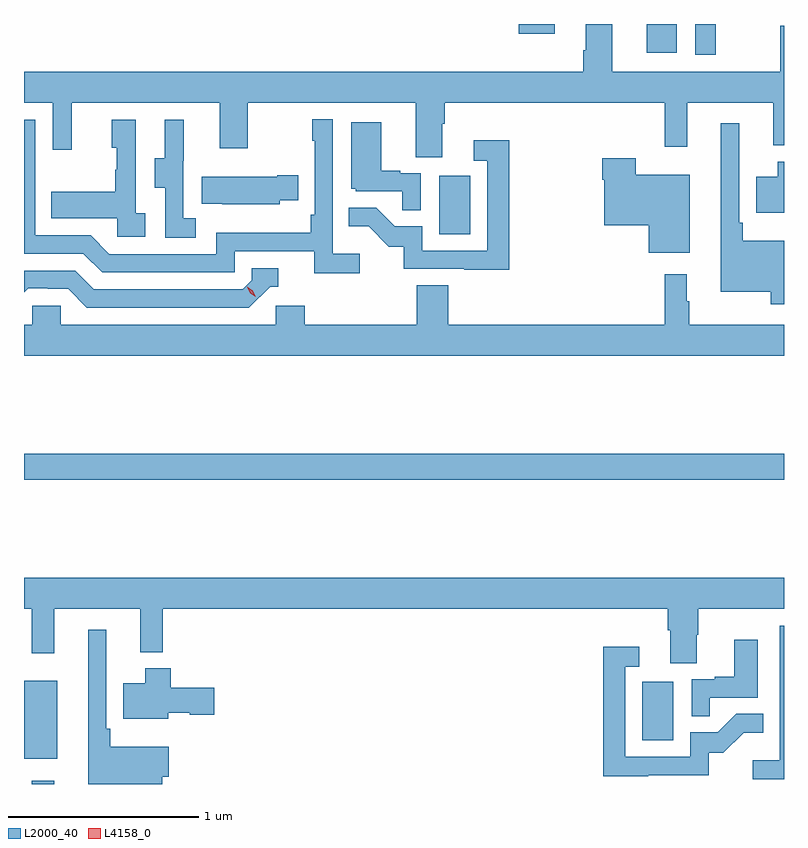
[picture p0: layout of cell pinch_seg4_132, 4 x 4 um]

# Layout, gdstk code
import gdstk
lib = gdstk.Library(unit=1e-6, precision=1e-09)
def R(c, l, rs):  # rectangles x0, y0, x1, y1
    for r in rs: c.add(gdstk.rectangle(r[:2], r[2:], *l))
def P(c, l, *ps):  # polygons
    for p in ps: c.add(gdstk.Polygon(p, *l))
L2000_40 = (2000, 40)
L4158_0 = (4158, 0)

pinch_seg4_132 = lib.new_cell('pinch_seg4_132')
R(pinch_seg4_132, L2000_40, [(1042.561,799.894,1042.678,799.912), (1042.519,800.027,1042.693,800.437), (1045.772,800.124,1045.936,800.431), (1042.519,801.496,1046.519,801.632), (1044.704,802.788,1044.868,803.095), (1046.052,803.733,1046.161,803.894), (1045.796,803.742,1045.954,803.894), (1045.123,803.844,1045.312,803.894)])
P(pinch_seg4_132, L2000_40, [(1042.519,803.48),(1042.671,803.48),(1042.671,803.232),(1042.769,803.232),(1042.769,803.48),(1043.549,803.48),(1043.549,803.241),(1043.697,803.241),(1043.697,803.48),(1044.581,803.48),(1044.581,803.194),(1044.721,803.194),(1044.721,803.368),(1044.734,803.368),(1044.734,803.48),(1045.891,803.48),(1045.891,803.247),(1046.009,803.247),(1046.009,803.48),(1046.462,803.48),(1046.462,803.255),(1046.519,803.255),(1046.519,803.884),(1046.5,803.884),(1046.5,803.644),(1045.615,803.644),(1045.615,803.894),(1045.475,803.894),(1045.475,803.756),(1045.463,803.756),(1045.463,803.644),(1042.519,803.644)],
  [(1044.286,802.684),(1044.144,802.684),(1044.144,803.392),(1044.036,803.392),(1044.036,803.279),(1044.048,803.279),(1044.048,802.891),(1044.028,802.891),(1044.028,802.795),(1043.532,802.795),(1043.532,802.683),(1042.968,802.683),(1042.869,802.782),(1042.578,802.782),(1042.578,803.391),(1042.519,803.391),(1042.519,802.686),(1042.832,802.686),(1042.931,802.587),(1043.628,802.587),(1043.628,802.698),(1044.047,802.698),(1044.047,802.582),(1044.286,802.582)],
  [(1043.422,802.871),(1043.358,802.871),(1043.358,803.175),(1043.36,803.175),(1043.36,803.389),(1043.261,803.389),(1043.261,803.187),(1043.207,803.187),(1043.207,803.032),(1043.262,803.032),(1043.262,802.768),(1043.422,802.768)],
  [(1043.158,802.898),(1043.106,802.898),(1043.106,803.389),(1042.982,803.389),(1042.982,803.244),(1043.007,803.244),(1043.007,803.126),(1042.998,803.126),(1042.998,803.011),(1042.663,803.011),(1042.663,802.871),(1043.01,802.871),(1043.01,802.773),(1043.158,802.773)],
  [(1044.606,803.109),(1044.5,803.109),(1044.5,803.122),(1044.4,803.122),(1044.4,803.377),(1044.242,803.377),(1044.242,803.028),(1044.264,803.028),(1044.264,803.013),(1044.511,803.013),(1044.511,802.915),(1044.606,802.915)],
  [(1046.519,802.753),(1046.303,802.753),(1046.303,802.849),(1046.283,802.849),(1046.283,803.371),(1046.186,803.371),(1046.186,802.484),(1046.448,802.484),(1046.448,802.419),(1046.519,802.419)],
  [(1045.073,803.281),(1044.885,803.281),(1044.885,803.175),(1044.957,803.175),(1044.957,802.701),(1044.615,802.701),(1044.615,802.83),(1044.471,802.83),(1044.373,802.928),(1044.229,802.928),(1044.229,802.829),(1044.333,802.829),(1044.44,802.722),(1044.517,802.722),(1044.517,802.605),(1044.835,802.605),(1044.835,802.6),(1045.073,802.6)],
  [(1046.023,803.101),(1045.74,803.101),(1045.74,803.188),(1045.562,803.188),(1045.562,803.075),(1045.574,803.075),(1045.574,802.835),(1045.808,802.835),(1045.808,802.691),(1046.023,802.691)],
  [(1046.519,803.17),(1046.486,803.17),(1046.486,803.089),(1046.372,803.089),(1046.372,802.901),(1046.519,802.901)],
  [(1043.865,802.967),(1043.963,802.967),(1043.963,803.097),(1043.852,803.097),(1043.852,803.089),(1043.455,803.089),(1043.455,802.949),(1043.563,802.949),(1043.563,802.946),(1043.865,802.946)],
  [(1043.814,802.512),(1043.857,802.512),(1043.857,802.608),(1043.718,802.608),(1043.718,802.545),(1043.67,802.497),(1042.887,802.497),(1042.788,802.596),(1042.519,802.596),(1042.519,802.481),(1042.541,802.503),(1042.644,802.503),(1042.644,802.5),(1042.751,802.5),(1042.85,802.401),(1043.703,802.401)],
  [(1046.519,802.312),(1046.02,802.312),(1046.02,802.436),(1046.008,802.436),(1046.008,802.576),(1045.891,802.576),(1045.891,802.312),(1044.752,802.312),(1044.752,802.52),(1044.587,802.52),(1044.587,802.312),(1043.996,802.312),(1043.996,802.41),(1043.844,802.41),(1043.844,802.312),(1042.713,802.312),(1042.713,802.41),(1042.563,802.41),(1042.563,802.312),(1042.519,802.312),(1042.519,802.148),(1046.519,802.148)],
  [(1046.059,800.679),(1046.067,800.679),(1046.067,800.816),(1046.519,800.816),(1046.519,800.98),(1042.519,800.98),(1042.519,800.816),(1042.561,800.816),(1042.561,800.583),(1042.679,800.583),(1042.679,800.816),(1043.132,800.816),(1043.132,800.588),(1043.249,800.588),(1043.249,800.816),(1045.907,800.816),(1045.907,800.704),(1045.919,800.704),(1045.919,800.53),(1046.059,800.53)],
  [(1046.519,800.728),(1046.496,800.728),(1046.496,800.02),(1046.355,800.02),(1046.355,799.918),(1046.519,799.918)],
  [(1043.246,799.931),(1043.281,799.931),(1043.281,800.089),(1042.973,800.089),(1042.973,800.185),(1042.953,800.185),(1042.953,800.707),(1042.856,800.707),(1042.856,799.894),(1043.246,799.894)],
  [(1046.129,800.349),(1046.38,800.349),(1046.38,800.653),(1046.258,800.653),(1046.258,800.458),(1046.155,800.458),(1046.155,800.445),(1046.034,800.445),(1046.034,800.251),(1046.129,800.251)],
  [(1045.805,799.941),(1046.124,799.941),(1046.124,800.058),(1046.2,800.058),(1046.307,800.165),(1046.411,800.165),(1046.411,800.264),(1046.268,800.264),(1046.17,800.166),(1046.025,800.166),(1046.025,800.037),(1045.683,800.037),(1045.683,800.511),(1045.756,800.511),(1045.756,800.617),(1045.567,800.617),(1045.567,799.936),(1045.805,799.936)],
  [(1043.278,800.27),(1043.391,800.27),(1043.391,800.258),(1043.521,800.258),(1043.521,800.4),(1043.291,800.4),(1043.291,800.503),(1043.156,800.503),(1043.156,800.425),(1043.042,800.425),(1043.042,800.237),(1043.278,800.237)])
P(pinch_seg4_132, L4158_0, [(1043.74,802.458),(1043.71,802.478),(1043.693,802.51),(1043.693,802.511),(1043.694,802.511),(1043.724,802.491),(1043.74,802.458),(1043.74,802.458)])

lib.write_gds('pinch_seg4_132.gds')
